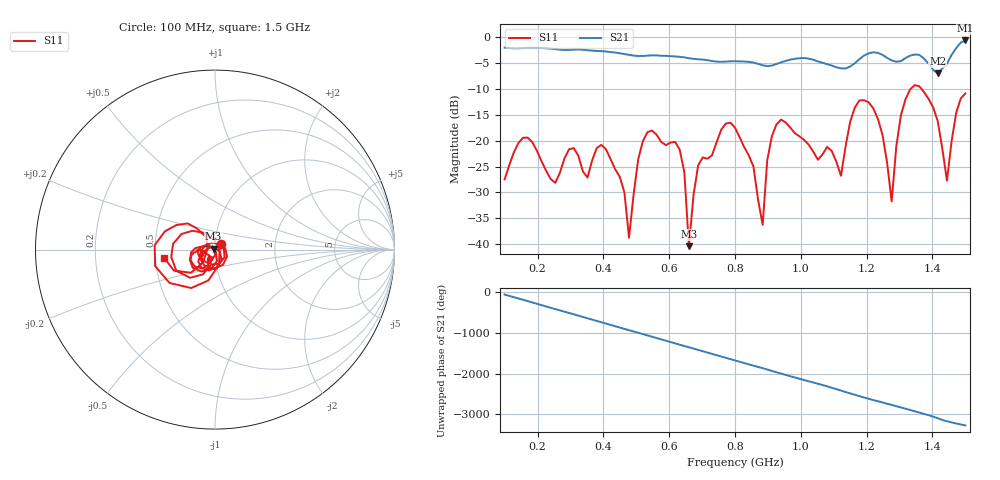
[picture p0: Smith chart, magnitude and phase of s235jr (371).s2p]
! NanoVNA-App
! Date: 2025-09-25 15:07:03
! Start: 100MHz Stop: 1,5GHz Points: 101
! S-Parameter data: F S11 S21 S12 S22
# Hz S RI R 50
!  Frequency  S11_Real  S11_Imag  S21_Real  S21_Imag  S12_Real  S12_Imag  S22_Real  S22_Imag
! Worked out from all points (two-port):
!   101 points, 100 MHz to 1.5 GHz, reference 50 ohm
!   highest |S21| = -0.58 dB at 1.5 GHz (marker M1); lowest = -7.0 dB at 1.416 GHz (marker M2)
!   |S21| within 3 dB of the highest: start of sweep to 504.5 MHz; 521.9 MHz to 595.3 MHz (73.4 MHz wide, 13.1 % of centre) (the widest 2 of 5)
!   lowest |S11| = -40.4 dB at 660 MHz (marker M3), VSWR 1.02, Z = 49.2 + j0.549 ohm
!   |S11| at or under -10 dB: start of sweep to 1.333 GHz; 1.367 GHz to end of sweep
!   S12 and S22 are empty: the file has one direction only
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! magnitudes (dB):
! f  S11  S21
! 100 MHz  -27.5  -2.0
! 156 MHz  -19.4  -2.0
! 338 MHz  -25.9  -2.4
! 408 MHz  -21.7  -2.7
! 478 MHz  -38.8  -3.4
! 520 MHz  -20.1  -3.6
! 576 MHz  -20.2  -3.5
! 632 MHz  -21.7  -3.7
! 660 MHz  -40.4  -4.0
! 688 MHz  -24.8  -4.2
! 800 MHz  -17.5  -4.6
! 884 MHz  -36.3  -5.4
! 926 MHz  -16.8  -5.1
! 1.038 GHz  -22.1  -4.3
! 1.122 GHz  -26.8  -6.0
! 1.164 GHz  -13.6  -5.0
! 1.206 GHz  -12.5  -3.1
! 1.276 GHz  -31.7  -4.4
! 1.332 GHz  -10.1  -3.5
! 1.416 GHz  -16.2  -7.0
! 1.444 GHz  -27.7  -5.1
! 1.5 GHz  -10.8  -0.6
